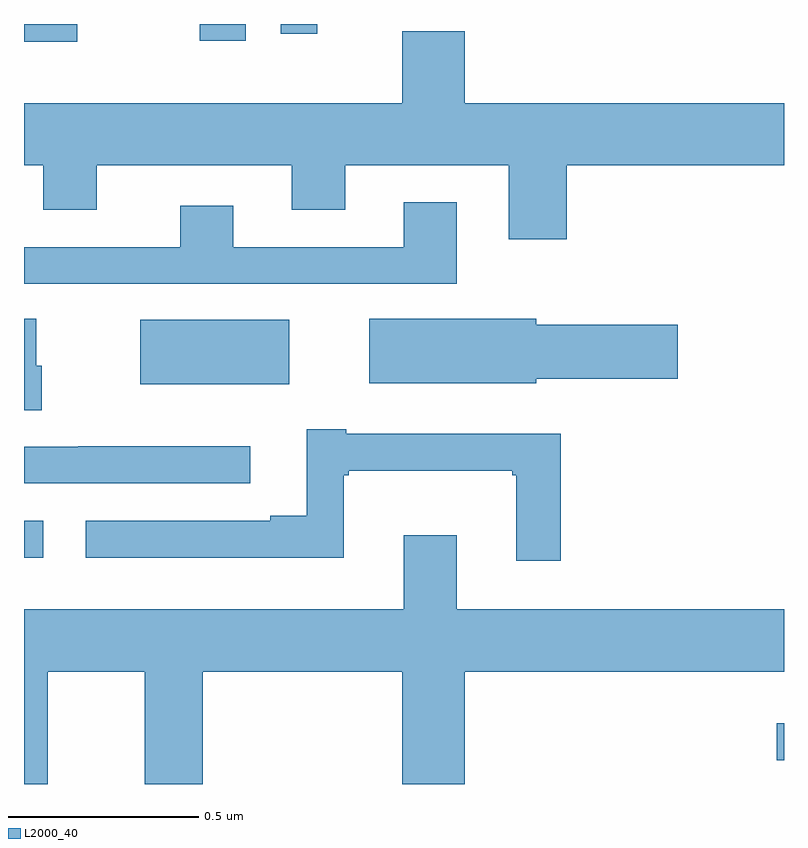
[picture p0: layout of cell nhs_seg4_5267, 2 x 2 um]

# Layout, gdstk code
import gdstk
lib = gdstk.Library(unit=1e-6, precision=1e-09)
def R(c, l, rs):  # rectangles x0, y0, x1, y1
    for r in rs: c.add(gdstk.rectangle(r[:2], r[2:], *l))
def P(c, l, *ps):  # polygons
    for p in ps: c.add(gdstk.Polygon(p, *l))
L2000_40 = (2000, 40)

nhs_seg4_5267 = lib.new_cell('nhs_seg4_5267')
R(nhs_seg4_5267, L2000_40, [(177.981,753.963,178,754.06), (176,754.496,176.05,754.593), (176.306,754.952,176.698,755.122), (176,755.853,176.14,755.9), (176.462,755.856,176.584,755.9), (176.676,755.874,176.772,755.9)])
P(nhs_seg4_5267, L2000_40, [(177.428,755.528),(178,755.528),(178,755.692),(177.16,755.692),(177.16,755.881),(176.996,755.881),(176.996,755.692),(176,755.692),(176,755.528),(176.051,755.528),(176.051,755.411),(176.191,755.411),(176.191,755.528),(176.705,755.528),(176.705,755.411),(176.845,755.411),(176.845,755.528),(177.275,755.528),(177.275,755.334),(177.428,755.334)],
  [(177.139,755.431),(176.999,755.431),(176.999,755.313),(176.551,755.313),(176.551,755.422),(176.411,755.422),(176.411,755.313),(176,755.313),(176,755.217),(177.139,755.217)],
  [(176.047,755.001),(176.032,755.001),(176.032,755.125),(176,755.125),(176,754.883),(176.047,754.883)],
  [(177.348,754.967),(177.721,754.967),(177.721,755.109),(177.348,755.109),(177.348,755.125),(176.909,755.125),(176.909,754.955),(177.348,754.955)],
  [(177.413,754.822),(176.848,754.822),(176.848,754.834),(176.744,754.834),(176.744,754.606),(176.648,754.606),(176.648,754.593),(176.163,754.593),(176.163,754.496),(176.842,754.496),(176.842,754.713),(176.854,754.713),(176.854,754.724),(177.285,754.724),(177.285,754.713),(177.296,754.713),(177.296,754.488),(177.413,754.488)],
  [(176.596,754.789),(176.143,754.789),(176.143,754.788),(176,754.788),(176,754.692),(176.596,754.692)],
  [(176.062,754.196),(176.318,754.196),(176.318,753.9),(176.471,753.9),(176.471,754.196),(176.996,754.196),(176.996,753.9),(177.16,753.9),(177.16,754.196),(178,754.196),(178,754.36),(177.139,754.36),(177.139,754.555),(176.999,754.555),(176.999,754.36),(176,754.36),(176,753.9),(176.062,753.9)])

lib.write_gds('nhs_seg4_5267.gds')
